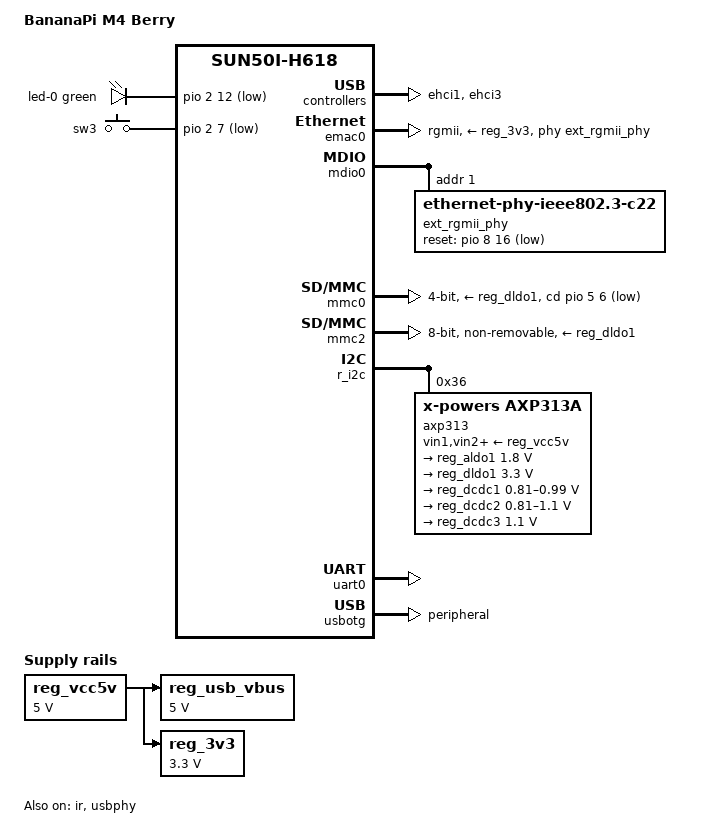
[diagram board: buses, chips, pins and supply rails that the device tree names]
// SPDX-License-Identifier: (GPL-2.0+ OR MIT)
/*
 * Copyright (C) 2023 Arm Ltd.
 */

/dts-v1/;

#include "sun50i-h616.dtsi"

#include <dt-bindings/gpio/gpio.h>
#include <dt-bindings/input/linux-event-codes.h>
#include <dt-bindings/interrupt-controller/arm-gic.h>
#include <dt-bindings/leds/common.h>

/ {
	model = "BananaPi M4 Berry";
	compatible = "sinovoip,bananapi-m4-berry", "allwinner,sun50i-h618";

	aliases {
		ethernet0 = &emac0;
		serial0 = &uart0;
	};

	chosen {
		stdout-path = "serial0:115200n8";
	};

	leds {
		compatible = "gpio-leds";

		led-0 {
			function = LED_FUNCTION_STATUS;
			color = <LED_COLOR_ID_GREEN>;
			gpios = <&pio 2 12 GPIO_ACTIVE_LOW>; /* PC12 */
		};
	};

	gpio-keys {
		compatible = "gpio-keys";

		key-sw4 {
			label = "sw3";
			linux,code = <BTN_0>;
			gpios = <&pio 2 7 GPIO_ACTIVE_LOW>;	/* PC7 */
		};
	};

	reg_vcc5v: vcc5v {
		/* board wide 5V supply directly from the USB-C socket */
		compatible = "regulator-fixed";
		regulator-name = "vcc-5v";
		regulator-min-microvolt = <5000000>;
		regulator-max-microvolt = <5000000>;
		regulator-always-on;
	};

	reg_usb_vbus: regulator-usb-vbus {
		/* separate discrete regulator for the USB ports */
		compatible = "regulator-fixed";
		regulator-name = "usb-vbus";
		regulator-min-microvolt = <5000000>;
		regulator-max-microvolt = <5000000>;
		vin-supply = <&reg_vcc5v>;
	};

	reg_3v3: regulator-3v3 {
		/* separate discrete regulator for WiFi and Ethernet PHY */
		compatible = "regulator-fixed";
		regulator-name = "vcc-3v3";
		regulator-min-microvolt = <3300000>;
		regulator-max-microvolt = <3300000>;
		vin-supply = <&reg_vcc5v>;
	};
};

&cpu0 {
	cpu-supply = <&reg_dcdc2>;
};

/* Connected to an on-board RTL8821CU USB WiFi chip. */
&ehci1 {
	status = "okay";
};

/* on unpopulated pins */
&ehci2 {
	status = "disabled";
};

/* Connected to an on-board FE1.1s USB hub chip, supplying 4 USB-A ports. */
&ehci3 {
	status = "okay";
};

&emac0 {
	pinctrl-names = "default";
	pinctrl-0 = <&ext_rgmii_pins>;
	phy-mode = "rgmii";
	phy-handle = <&ext_rgmii_phy>;
	phy-supply = <&reg_3v3>;
	allwinner,rx-delay-ps = <3100>;
	allwinner,tx-delay-ps = <700>;
	status = "okay";
};

&ir {
	status = "okay";
};

&mdio0 {
	ext_rgmii_phy: ethernet-phy@1 {
		compatible = "ethernet-phy-ieee802.3-c22";
		reg = <1>;
		reset-gpios = <&pio 8 16 GPIO_ACTIVE_LOW>;	/* PI16 */
	};
};

&mmc0 {
	cd-gpios = <&pio 5 6 GPIO_ACTIVE_LOW>;	/* PF6 */
	vmmc-supply = <&reg_dldo1>;
	bus-width = <4>;
	status = "okay";
};

&mmc2 {
	vmmc-supply = <&reg_dldo1>;
	vqmmc-supply = <&reg_aldo1>;
	bus-width = <8>;
	non-removable;
	cap-mmc-hw-reset;
	mmc-ddr-1_8v;
	mmc-hs200-1_8v;
	status = "okay";
};

/* USB ports 1 and 3 connect to onboard devices that are high-speed only. */

/* on unpopulated pins */
&ohci2 {
	status = "disabled";
};

&pio {
	vcc-pc-supply = <&reg_aldo1>;
	vcc-pf-supply = <&reg_dldo1>;
	vcc-pg-supply = <&reg_dldo1>;
	vcc-ph-supply = <&reg_dldo1>;
	vcc-pi-supply = <&reg_dldo1>;
};

&r_i2c {
	status = "okay";

	axp313: pmic@36 {
		compatible = "x-powers,axp313a";
		reg = <0x36>;
		#interrupt-cells = <1>;
		interrupt-controller;
		interrupt-parent = <&pio>;

		vin1-supply = <&reg_vcc5v>;
		vin2-supply = <&reg_vcc5v>;
		vin3-supply = <&reg_vcc5v>;

		regulators {
			reg_aldo1: aldo1 {
				regulator-always-on;
				regulator-min-microvolt = <1800000>;
				regulator-max-microvolt = <1800000>;
				regulator-name = "vcc-1v8-pll";
			};

			reg_dldo1: dldo1 {
				regulator-always-on;
				regulator-min-microvolt = <3300000>;
				regulator-max-microvolt = <3300000>;
				regulator-name = "vcc-3v3-io";
			};

			reg_dcdc1: dcdc1 {
				regulator-always-on;
				regulator-min-microvolt = <810000>;
				regulator-max-microvolt = <990000>;
				regulator-name = "vdd-gpu-sys";
			};

			reg_dcdc2: dcdc2 {
				regulator-always-on;
				regulator-min-microvolt = <810000>;
				regulator-max-microvolt = <1100000>;
				regulator-name = "vdd-cpu";
			};

			reg_dcdc3: dcdc3 {
				regulator-always-on;
				regulator-min-microvolt = <1100000>;
				regulator-max-microvolt = <1100000>;
				regulator-name = "vdd-dram";
			};
		};
	};
};

&uart0 {
	pinctrl-names = "default";
	pinctrl-0 = <&uart0_ph_pins>;
	status = "okay";
};

&usbotg {
	/*
	 * PHY0 pins are connected to a USB-C socket, but a role switch is not
	 * implemented: both CC pins are pulled to GND via a 5.1K resistor.
	 * The VBUS pins power the device, so a fixed peripheral mode
	 * is the best choice.
	 * The board can be powered via GPIOs, in this case port0 *can*
	 * act as a host (with a cable/adapter ignoring CC), as VBUS is
	 * then provided by the GPIOs. Any user of this setup would
	 * need to adjust the DT accordingly: dr_mode set to "host",
	 * enabling OHCI0 and EHCI0.
	 */
	dr_mode = "peripheral";
	status = "okay";
};

&usbphy {
	usb3_vbus-supply = <&reg_usb_vbus>;
	status = "okay";
};
